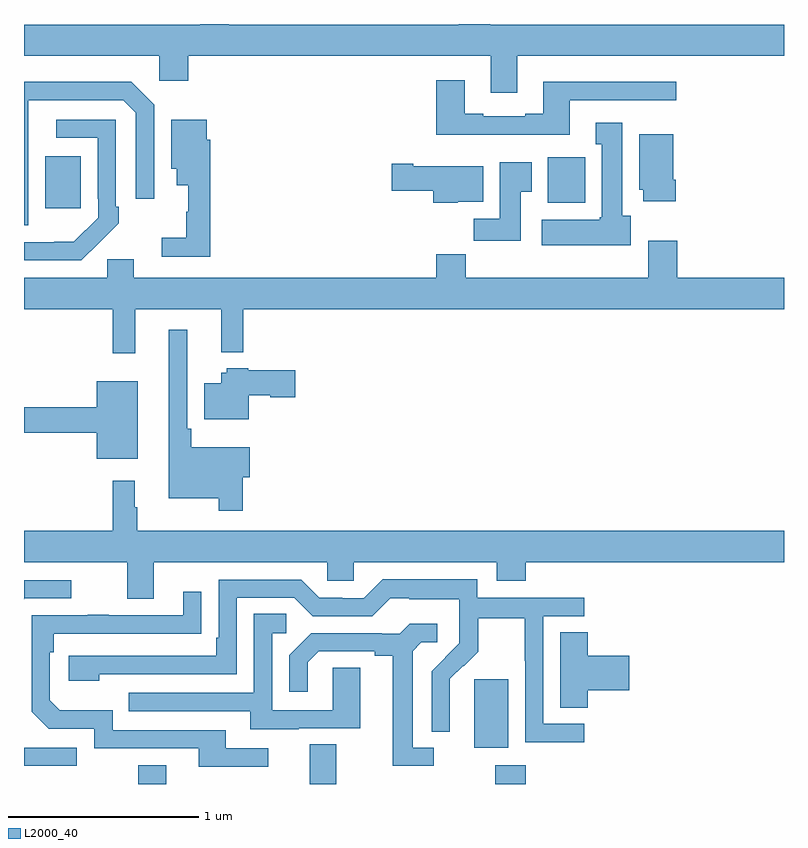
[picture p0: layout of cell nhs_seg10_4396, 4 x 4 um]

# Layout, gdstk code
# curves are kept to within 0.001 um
import gdstk
lib = gdstk.Library(unit=1e-6, precision=1e-09)
def R(c, l, rs):  # rectangles x0, y0, x1, y1
    for r in rs: c.add(gdstk.rectangle(r[:2], r[2:], *l))
def P(c, l, *ps):  # polygons
    for p in ps: c.add(gdstk.Polygon(p, *l))
L2000_40 = (2000, 40)

nhs_seg10_4396 = lib.new_cell('nhs_seg10_4396')
R(nhs_seg10_4396, L2000_40, [(359.602,1280.5,359.749,1280.599), (360.503,1280.5,360.643,1280.708), (361.48,1280.5,361.64,1280.599), (361.37,1280.69,361.549,1281.051), (359.111,1283.529,359.299,1283.803), (361.757,1283.558,361.954,1283.8)])
P(nhs_seg10_4396, L2000_40, [(361.597,1284.332),(363,1284.332),(363,1284.496),(361.454,1284.496),(361.454,1284.5),(361.289,1284.5),(361.289,1284.496),(360.078,1284.496),(360.078,1284.5),(359.927,1284.5),(359.927,1284.496),(359,1284.496),(359,1284.332),(359.712,1284.332),(359.712,1284.201),(359.864,1284.201),(359.864,1284.332),(361.457,1284.332),(361.457,1284.138),(361.597,1284.138)],
  [(361.873,1284.099),(362.434,1284.099),(362.434,1284.196),(361.733,1284.196),(361.733,1284.028),(361.637,1284.028),(361.637,1284.015),(361.417,1284.015),(361.417,1284.028),(361.321,1284.028),(361.321,1284.205),(361.169,1284.205),(361.169,1283.918),(361.873,1283.918)],
  [(359.022,1283.899),(359.023,1283.899),(359.023,1284.099),(359.523,1284.099),(359.589,1284.033),(359.589,1283.58),(359.685,1283.58),(359.685,1284.075),(359.564,1284.196),(359,1284.196),(359,1283.442),(359.022,1283.442)],
  [(359.393,1283.347),(359.394,1283.346),(359.499,1283.451),(359.499,1283.539),(359.484,1283.539),(359.484,1283.997),(359.169,1283.997),(359.169,1283.901),(359.388,1283.901),(359.388,1283.581),(359.391,1283.581),(359.391,1283.481),(359.263,1283.353),(359,1283.352),(359,1283.256),(359.302,1283.256)],
  [(359.981,1283.891),(359.962,1283.891),(359.962,1283.995),(359.774,1283.995),(359.774,1283.738),(359.804,1283.738),(359.804,1283.651),(359.864,1283.651),(359.864,1283.511),(359.853,1283.511),(359.853,1283.375),(359.724,1283.375),(359.724,1283.274),(359.981,1283.274)],
  [(362.194,1283.49),(362.149,1283.49),(362.149,1283.98),(362.009,1283.98),(362.009,1283.867),(362.042,1283.867),(362.042,1283.484),(362.029,1283.484),(362.029,1283.47),(361.725,1283.47),(361.725,1283.336),(362.194,1283.336)],
  [(362.429,1283.68),(362.416,1283.68),(362.416,1283.92),(362.237,1283.92),(362.237,1283.628),(362.258,1283.628),(362.258,1283.568),(362.429,1283.568)],
  [(361.615,1283.617),(361.672,1283.617),(361.672,1283.773),(361.505,1283.773),(361.505,1283.476),(361.366,1283.476),(361.366,1283.358),(361.615,1283.358)],
  [(361.284,1283.564),(361.417,1283.564),(361.417,1283.752),(361.048,1283.752),(361.048,1283.765),(360.936,1283.765),(360.936,1283.623),(361.154,1283.623),(361.154,1283.558),(361.284,1283.558)],
  [(359.585,1283),(360.038,1283),(360.038,1282.772),(360.155,1282.772),(360.155,1283),(363,1283),(363,1283.164),(362.438,1283.164),(362.438,1283.359),(362.285,1283.359),(362.285,1283.164),(361.325,1283.164),(361.325,1283.288),(361.169,1283.288),(361.169,1283.164),(359.578,1283.164),(359.578,1283.262),(359.439,1283.262),(359.439,1283.164),(359,1283.164),(359,1283),(359.467,1283),(359.467,1282.767),(359.585,1282.767)],
  [(360.152,1282.115),(360.187,1282.115),(360.187,1282.273),(359.879,1282.273),(359.879,1282.369),(359.859,1282.369),(359.859,1282.891),(359.762,1282.891),(359.762,1282.004),(360.024,1282.004),(360.024,1281.939),(360.152,1281.939)],
  [(360.184,1282.547),(360.297,1282.547),(360.297,1282.535),(360.427,1282.535),(360.427,1282.677),(360.18,1282.677),(360.18,1282.687),(360.066,1282.687),(360.066,1282.665),(360.038,1282.665),(360.038,1282.609),(359.948,1282.609),(359.948,1282.421),(360.184,1282.421)],
  [(359.599,1282.621),(359.384,1282.621),(359.384,1282.484),(359,1282.484),(359,1282.348),(359.384,1282.348),(359.384,1282.211),(359.599,1282.211)],
  [(359.683,1281.668),(360.597,1281.668),(360.597,1281.57),(360.735,1281.57),(360.735,1281.668),(361.487,1281.668),(361.487,1281.569),(361.64,1281.569),(361.64,1281.668),(363,1281.668),(363,1281.832),(359.596,1281.832),(359.596,1281.956),(359.584,1281.956),(359.584,1282.096),(359.467,1282.096),(359.467,1281.832),(359,1281.832),(359,1281.668),(359.543,1281.668),(359.543,1281.474),(359.683,1281.474)],
  [(361.948,1280.817),(361.734,1280.817),(361.734,1281.384),(361.948,1281.384),(361.948,1281.48),(361.386,1281.48),(361.386,1281.577),(360.889,1281.577),(360.789,1281.477),(360.674,1281.477),(360.674,1281.48),(360.555,1281.48),(360.459,1281.576),(360.024,1281.576),(360.024,1281.271),(360.011,1281.271),(360.011,1281.174),(359.235,1281.174),(359.235,1281.044),(359.396,1281.044),(359.396,1281.078),(360.12,1281.078),(360.12,1281.48),(360.423,1281.48),(360.519,1281.384),(360.834,1281.384),(360.927,1281.477),(361.027,1281.477),(361.027,1281.473),(361.29,1281.473),(361.29,1281.339),(361.292,1281.339),(361.292,1281.242),(361.146,1281.094),(361.146,1280.776),(361.242,1280.776),(361.241,1281.053),(361.311,1281.123),(361.314,1281.12),(361.391,1281.197),(361.391,1281.372),(361.636,1281.372),(361.636,1281.148),(361.638,1281.148),(361.638,1280.719),(361.948,1280.719)],
  [(359.004,1281.477),(359.248,1281.477),(359.248,1281.573),(359,1281.573),(359,1281.473)],
  [(360.286,1280.688),(360.061,1280.688),(360.061,1280.784),(359.466,1280.784),(359.466,1280.887),(359.189,1280.887),(359.136,1280.94),(359.136,1281.194),(359.156,1281.194),(359.156,1281.291),(359.933,1281.292),(359.933,1281.511),(359.837,1281.511),(359.837,1281.387),(359.447,1281.387),(359.447,1281.392),(359.335,1281.392),(359.335,1281.387),(359.04,1281.387),(359.04,1280.88),(359.13,1280.79),(359.37,1280.79),(359.37,1280.688),(359.921,1280.688),(359.921,1280.592),(360.286,1280.592)],
  [(360.445,1280.793),(360.769,1280.793),(360.769,1281.113),(360.624,1281.113),(360.624,1280.889),(360.306,1280.889),(360.306,1281.294),(360.379,1281.294),(360.379,1281.395),(360.21,1281.395),(360.21,1280.979),(359.551,1280.979),(359.551,1280.883),(360.191,1280.883),(360.191,1280.789),(360.445,1280.789)],
  [(361.156,1280.691),(361.045,1280.691),(361.045,1281.199),(361.092,1281.246),(361.174,1281.246),(361.174,1281.343),(361.03,1281.343),(360.978,1281.291),(360.884,1281.291),(360.884,1281.294),(360.512,1281.294),(360.396,1281.178),(360.396,1280.985),(360.493,1280.985),(360.493,1281.141),(360.55,1281.198),(360.845,1281.198),(360.845,1281.176),(360.941,1281.176),(360.941,1280.595),(361.156,1280.595)],
  [(361.967,1280.993),(362.185,1280.993),(362.185,1281.176),(361.967,1281.176),(361.967,1281.299),(361.823,1281.299),(361.823,1280.902),(361.967,1280.902)],
  [(359.278,1280.691),(359.001,1280.691),(359,1280.692),(359,1280.595),(359.278,1280.595)])

lib.write_gds('nhs_seg10_4396.gds')
